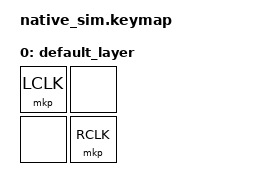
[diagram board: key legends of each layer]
#include <behaviors.dtsi>
#include <dt-bindings/zmk/keys.h>
#include <dt-bindings/zmk/input_mock.h>
#include <dt-bindings/zmk/pointing.h>

/ {
    keymap {
        compatible = "zmk,keymap";

        default_layer {
            bindings = <
            &mkp LCLK &none
            &none     &mkp RCLK
            >;
        };
    };
};


&mock_input {
    events = <
    ZMK_INPUT_MOCK_PRESS(0,0,100)
    ZMK_INPUT_MOCK_PRESS(1,1,100)
    ZMK_INPUT_MOCK_RELEASE(1,1, 10)
    ZMK_INPUT_MOCK_RELEASE(0,0, 10)
    >;
};
